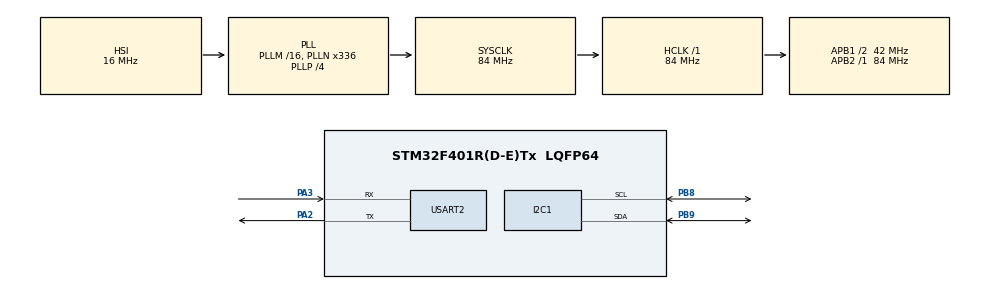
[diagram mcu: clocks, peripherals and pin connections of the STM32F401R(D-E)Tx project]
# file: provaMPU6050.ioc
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I2C1.DutyCycle=I2C_DUTYCYCLE_2
I2C1.I2C_Mode=I2C_Fast
Mcu.Family=STM32F4
Mcu.Name=STM32F401R(D-E)Tx
Mcu.Package=LQFP64
NVIC.PriorityGroup=NVIC_PRIORITYGROUP_0
NVIC.USART2_IRQn=true\:0\:0\:false\:false\:true\:true\:true
PA2.Mode=Asynchronous
PA2.Signal=USART2_TX
PA3.Mode=Asynchronous
PA3.Signal=USART2_RX
PB8.Mode=I2C
PB8.Signal=I2C1_SCL
PB9.Mode=I2C
PB9.Signal=I2C1_SDA
ProjectManager.HeapSize=0x200
ProjectManager.StackSize=0x400
ProjectManager.TargetToolchain=STM32CubeIDE
RCC.48MHZClocksFreq_Value=48000000
RCC.AHBFreq_Value=84000000
RCC.APB1CLKDivider=RCC_HCLK_DIV2
RCC.APB1Freq_Value=42000000
RCC.APB1TimFreq_Value=84000000
RCC.APB2Freq_Value=84000000
RCC.APB2TimFreq_Value=84000000
RCC.CortexFreq_Value=84000000
RCC.HCLKFreq_Value=84000000
RCC.HSE_VALUE=8000000
RCC.HSI_VALUE=16000000
RCC.LSE_VALUE=32768
RCC.PLLN=336
RCC.PLLP=RCC_PLLP_DIV4
RCC.PLLQ=7
RCC.SYSCLKFreq_VALUE=84000000
RCC.SYSCLKSource=RCC_SYSCLKSOURCE_PLLCLK
RCC.VCOOutputFreq_Value=336000000
USART2.VirtualMode=VM_ASYNC
board=NUCLEO-F401RE

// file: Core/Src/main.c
/* USER CODE BEGIN Header */
/**
  ******************************************************************************
  * @file           : main.c
  * @brief          : Main program body
  ******************************************************************************
  * @attention
  *
  * Copyright (c) 2021 STMicroelectronics.
  * All rights reserved.
  *
  * This software is licensed under terms that can be found in the LICENSE file
  * in the root directory of this software component.
  * If no LICENSE file comes with this software, it is provided AS-IS.
  *
  ******************************************************************************
  */
/* USER CODE END Header */
#include "main.h"

/* USER CODE BEGIN Includes */
#include <string.h>
#include <stdio.h>
#include <math.h>
#include "inv_mpu_dmp_motion_driver.h"
#include "inv_mpu.h"
#include "invensense.h"
#include "invensense_adv.h"
#include "eMPL_outputs.h"
#include "mltypes.h"
#include "mpu.h"
#include "packet.h"
/* USER CODE END Includes */

/* USER CODE BEGIN PTD */
struct platform_data_s {
    signed char orientation[9];
};

static struct platform_data_s gyro_pdata = {
    .orientation = { 1, 0, 0,
                     0, 1, 0,
                     0, 0, 1}
};
struct rx_s {
    unsigned char header[3];
    unsigned char cmd;
};
struct hal_s {
    unsigned char lp_accel_mode;
    unsigned char sensors;
    unsigned char dmp_on;
    unsigned char wait_for_tap;
    volatile unsigned char new_gyro;
    unsigned char motion_int_mode;
    unsigned long no_dmp_hz;
    unsigned long next_pedo_ms;
    unsigned long next_temp_ms;
    unsigned long next_compass_ms;
    unsigned int report;
    unsigned short dmp_features;
    struct rx_s rx;
};
static struct hal_s hal = {0};
/* USER CODE END PTD */

/* USER CODE BEGIN PD */
#define DEFAULT_MPU_HZ  (20)
#define ACCEL_ON        (0x01)
#define GYRO_ON         (0x02)
#define PRINT_EULER     (0x10)
/* USER CODE END PD */

I2C_HandleTypeDef hi2c1;

UART_HandleTypeDef huart2;

/* USER CODE BEGIN PV */
unsigned char *mpl_key = (unsigned char*)"eMPL 5.1";
/* USER CODE END PV */

void SystemClock_Config(void);
static void MX_GPIO_Init(void);
static void MX_USART2_UART_Init(void);
static void MX_I2C1_Init(void);

/* USER CODE BEGIN 0 */

void checkMPUI2C(void){
    uint8_t whoami = 0;
    HAL_StatusTypeDef status = HAL_OK;

    status = HAL_I2C_Mem_Read(&I2C_DEV, MPU6050ADDR, WHOAMIADDR, I2C_ADDSIZE, &whoami, 1, I2C_TIMEOUT);

    switch(status){
        case HAL_OK:
            if(whoami == MPU6050ID)
                MPL_LOGI("DEVICE OK\r\n");
            else
                MPL_LOGI("ERR: DEVICE\r\n");
            break;
        case HAL_ERROR:
            MPL_LOGI("ERR: STATUS\r\n");
            break;
        case HAL_BUSY:
            MPL_LOGI("ERR: BUSY\r\n");
            break;
        case HAL_TIMEOUT:
            MPL_LOGI("ERR: TIMEOUT\r\n");
            break;
        default:
            MPL_LOGI("ERR: UNKNOWN\r\n");
            break;
    }

    return;
}

void initMPU(void){
    unsigned char accel_fsr;
    unsigned short gyro_rate, gyro_fsr;

    if(mpu_init() == 0)
        MPL_LOGI("MPU INIT OK\r\n");
    else
        MPL_LOGI("ERR: MPU INIT\r\n");

    if(inv_init_mpl() == 0)
        MPL_LOGI("MPU INV INIT OK\r\n");
    else
        MPL_LOGI("ERR: MPU INV INIT\r\n");

    inv_enable_quaternion();
    inv_enable_9x_sensor_fusion();
    inv_enable_fast_nomot();
    inv_enable_gyro_tc();
    inv_enable_eMPL_outputs();

    if(inv_start_mpl() == 0)
        MPL_LOGI("START MPL OK\r\n");
    else if(inv_start_mpl() == INV_ERROR_NOT_AUTHORIZED)
        MPL_LOGI("ERR: START MPL: NOAUTH\r\n");
    else
        MPL_LOGI("ERR: START MPL\r\n");

    mpu_set_sensors(INV_XYZ_GYRO | INV_XYZ_ACCEL);
    mpu_configure_fifo(INV_XYZ_GYRO | INV_XYZ_ACCEL);

    mpu_set_sample_rate(DEFAULT_MPU_HZ);
    mpu_get_sample_rate(&gyro_rate);

    mpu_get_gyro_fsr(&gyro_fsr);
    mpu_get_accel_fsr(&accel_fsr);

    inv_set_gyro_sample_rate(1000000L / gyro_rate);
    inv_set_accel_sample_rate(1000000L / gyro_rate);

    inv_set_gyro_orientation_and_scale(inv_orientation_matrix_to_scalar(gyro_pdata.orientation),
                                       (long)gyro_fsr<<15);
    inv_set_accel_orientation_and_scale(inv_orientation_matrix_to_scalar(gyro_pdata.orientation),
                                        (long)accel_fsr<<15);

    hal.sensors = ACCEL_ON | GYRO_ON;
    hal.dmp_on = 0;
    hal.report = 0;
    hal.rx.cmd = 0;
    hal.next_pedo_ms = 0;
    hal.next_compass_ms = 0;
    hal.next_temp_ms = 0;

    if(dmp_load_motion_driver_firmware() == 0)
        MPL_LOGI("FIRMWARE OK\r\n");
    else
        MPL_LOGI("ERR: FIRMWARE\r\n");

    dmp_set_orientation(inv_orientation_matrix_to_scalar(gyro_pdata.orientation));

    hal.dmp_features = DMP_FEATURE_6X_LP_QUAT     |
                       DMP_FEATURE_SEND_RAW_ACCEL |
                       DMP_FEATURE_SEND_CAL_GYRO  |
                       DMP_FEATURE_GYRO_CAL       |
                       DMP_FEATURE_TAP; // quest'ultima serve solo per evitare un bug che limita la frequenza della fifo

    dmp_enable_feature(hal.dmp_features);
    dmp_set_fifo_rate(DEFAULT_MPU_HZ);
    mpu_set_dmp_state(1);
    hal.dmp_on = 1;

    return;
}
static inline void run_self_test(void)
{
    int result;
    long gyro[3], accel[3];

    result = mpu_run_self_test(gyro, accel);

    if (result == 0x7) {
        MPL_LOGI("Passed!\r\n");
        MPL_LOGI("accel: %7.4f %7.4f %7.4f\r\n",
                    accel[0]/65536.f,
                    accel[1]/65536.f,
                    accel[2]/65536.f);
        MPL_LOGI("gyro: %7.4f %7.4f %7.4f\r\n",
                    gyro[0]/65536.f,
                    gyro[1]/65536.f,
                    gyro[2]/65536.f);

        unsigned short accel_sens;
        float gyro_sens;

        mpu_get_accel_sens(&accel_sens);
        accel[0] *= accel_sens;
        accel[1] *= accel_sens;
        accel[2] *= accel_sens;
        inv_set_accel_bias(accel, 3);
        mpu_get_gyro_sens(&gyro_sens);
        gyro[0] = (long) (gyro[0] * gyro_sens);
        gyro[1] = (long) (gyro[1] * gyro_sens);
        gyro[2] = (long) (gyro[2] * gyro_sens);
        inv_set_gyro_bias(gyro, 3);
    }
    else {
            if (!(result & 0x1))
                MPL_LOGE("Gyro failed.\r\n");
            if (!(result & 0x2))
                MPL_LOGE("Accel failed.\r\n");
            if (!(result & 0x4))
                MPL_LOGE("Compass failed.\r\n");
     }

}
/* USER CODE END 0 */

int main(void)
{
  /* USER CODE BEGIN 1 */
    unsigned long sensorTimestamp = 0;
    unsigned long oldSensorTimestamp = 0;
    float dT = 0.0;

    short gyro[3], accel_short[3], sensors;
    long  quat[4];
    unsigned char more;

    float convFact = 1073741824.0;

    float q0 = 0.0;
    float q1 = 0.0;
    float q2 = 0.0;
    float q3 = 0.0;

    float psi = 0.0;
    float theta = 0.0;
    float phi = 0.0;

    float zeroPsi = 0.0;
    uint8_t psiCalibDone = 0;

  /* USER CODE END 1 */

  /* MCU Configuration--------------------------------------------------------*/

  /* Reset of all peripherals, Initializes the Flash interface and the Systick. */
  HAL_Init();

  /* Configure the system clock */
  SystemClock_Config();

  /* Initialize all configured peripherals */
  MX_GPIO_Init();
  MX_USART2_UART_Init();
  MX_I2C1_Init();
  /* USER CODE BEGIN 2 */

  checkMPUI2C();

  initMPU();

  run_self_test();

  /* USER CODE END 2 */

  /* Infinite loop */
  /* USER CODE BEGIN WHILE */
  while (1)
  {
      dmp_read_fifo(gyro, accel_short, quat, &sensorTimestamp, &sensors, &more);
      if (sensors & (INV_WXYZ_QUAT | INV_XYZ_ACCEL | INV_XYZ_GYRO)) {
          dT = (float)(sensorTimestamp-oldSensorTimestamp)/1000.0;
          oldSensorTimestamp = sensorTimestamp;

          inv_build_quat(quat, 0, sensorTimestamp);

          q0 = (((double)quat[0])/convFact);
          q1 = (((double)quat[1])/convFact);
          q2 = (((double)quat[2])/convFact);
          q3 = (((double)quat[3])/convFact);

          phi = atan2(2*((q0*q1)+(q2*q3)),1-(2*(pow(q1,2)+pow(q2,2))))*M_1_PI*180;
          theta = asin(2*((q0*q2)-(q3*q1)))*M_1_PI*180;
          psi = atan2(2*((q0*q3)+(q1*q2)),1-(2*(pow(q2,2)+pow(q3,2))))*M_1_PI*180;

          if(psiCalibDone == 0){
              MPL_LOGI("CALIB: psi=%3.4f\tzeroPsi=%3.4f\tdT=%3.4f\tdpsi/dt=%3.4f\r\n",
                       psi,zeroPsi,dT,fabsf((psi-zeroPsi)/dT));

              if(fabsf((psi-zeroPsi)/dT) >= 0.001){
                  zeroPsi = psi;
              }else
                  psiCalibDone = 1;
          }else{
              MPL_LOGI("\rphi=%3.2f\ttheta=%3.2f\tpsi=%3.2f",phi,theta,psi-zeroPsi);

              eMPL_send_quat(quat);
          }
      }

      inv_execute_on_data();
    /* USER CODE END WHILE */

  }
}

void SystemClock_Config(void)
{
  RCC_OscInitTypeDef RCC_OscInitStruct = {0};
  RCC_ClkInitTypeDef RCC_ClkInitStruct = {0};

  /** Configure the main internal regulator output voltage
  */
  __HAL_RCC_PWR_CLK_ENABLE();
  __HAL_PWR_VOLTAGESCALING_CONFIG(PWR_REGULATOR_VOLTAGE_SCALE2);
  /** Initializes the RCC Oscillators according to the specified parameters
  * in the RCC_OscInitTypeDef structure.
  */
  RCC_OscInitStruct.OscillatorType = RCC_OSCILLATORTYPE_HSI;
  RCC_OscInitStruct.HSIState = RCC_HSI_ON;
  RCC_OscInitStruct.HSICalibrationValue = RCC_HSICALIBRATION_DEFAULT;
  RCC_OscInitStruct.PLL.PLLState = RCC_PLL_ON;
  RCC_OscInitStruct.PLL.PLLSource = RCC_PLLSOURCE_HSI;
  RCC_OscInitStruct.PLL.PLLM = 16;
  RCC_OscInitStruct.PLL.PLLN = 336;
  RCC_OscInitStruct.PLL.PLLP = RCC_PLLP_DIV4;
  RCC_OscInitStruct.PLL.PLLQ = 7;
  if (HAL_RCC_OscConfig(&RCC_OscInitStruct) != HAL_OK)
  {
    Error_Handler();
  }
  /** Initializes the CPU, AHB and APB buses clocks
  */
  RCC_ClkInitStruct.ClockType = RCC_CLOCKTYPE_HCLK|RCC_CLOCKTYPE_SYSCLK
                              |RCC_CLOCKTYPE_PCLK1|RCC_CLOCKTYPE_PCLK2;
  RCC_ClkInitStruct.SYSCLKSource = RCC_SYSCLKSOURCE_PLLCLK;
  RCC_ClkInitStruct.AHBCLKDivider = RCC_SYSCLK_DIV1;
  RCC_ClkInitStruct.APB1CLKDivider = RCC_HCLK_DIV2;
  RCC_ClkInitStruct.APB2CLKDivider = RCC_HCLK_DIV1;

  if (HAL_RCC_ClockConfig(&RCC_ClkInitStruct, FLASH_LATENCY_2) != HAL_OK)
  {
    Error_Handler();
  }
}

static void MX_I2C1_Init(void)
{

  hi2c1.Instance = I2C1;
  hi2c1.Init.ClockSpeed = 400000;
  hi2c1.Init.DutyCycle = I2C_DUTYCYCLE_2;
  hi2c1.Init.OwnAddress1 = 0;
  hi2c1.Init.AddressingMode = I2C_ADDRESSINGMODE_7BIT;
  hi2c1.Init.DualAddressMode = I2C_DUALADDRESS_DISABLE;
  hi2c1.Init.OwnAddress2 = 0;
  hi2c1.Init.GeneralCallMode = I2C_GENERALCALL_DISABLE;
  hi2c1.Init.NoStretchMode = I2C_NOSTRETCH_DISABLE;
  if (HAL_I2C_Init(&hi2c1) != HAL_OK)
  {
    Error_Handler();
  }

}

static void MX_USART2_UART_Init(void)
{

  huart2.Instance = USART2;
  huart2.Init.BaudRate = 115200;
  huart2.Init.WordLength = UART_WORDLENGTH_8B;
  huart2.Init.StopBits = UART_STOPBITS_1;
  huart2.Init.Parity = UART_PARITY_NONE;
  huart2.Init.Mode = UART_MODE_TX_RX;
  huart2.Init.HwFlowCtl = UART_HWCONTROL_NONE;
  huart2.Init.OverSampling = UART_OVERSAMPLING_16;
  if (HAL_UART_Init(&huart2) != HAL_OK)
  {
    Error_Handler();
  }

}

static void MX_GPIO_Init(void)
{

  /* GPIO Ports Clock Enable */
  __HAL_RCC_GPIOA_CLK_ENABLE();
  __HAL_RCC_GPIOB_CLK_ENABLE();

}

void Error_Handler(void)
{
  __disable_irq();
  while (1)
  {
  }
}
